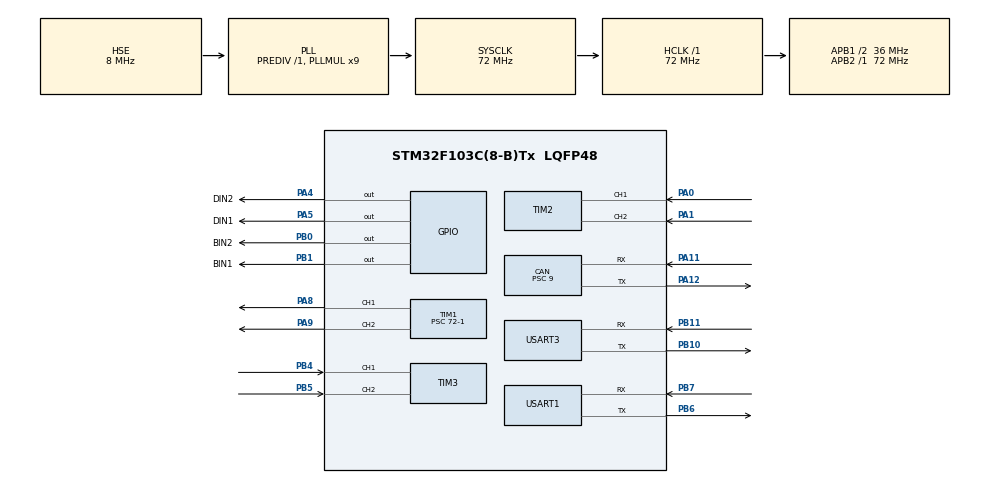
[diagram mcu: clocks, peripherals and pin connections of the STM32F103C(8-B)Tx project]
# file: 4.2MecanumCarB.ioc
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CAN.BS1=CAN_BS1_5TQ
CAN.BS2=CAN_BS2_2TQ
CAN.CalculateBaudRate=500000
CAN.CalculateTimeBit=2000
CAN.CalculateTimeQuantum=250.0
CAN.Prescaler=9
Mcu.Family=STM32F1
Mcu.Name=STM32F103C(8-B)Tx
Mcu.Package=LQFP48
NVIC.PriorityGroup=NVIC_PRIORITYGROUP_4
NVIC.TIM4_IRQn=true\:0\:0\:false\:false\:true\:true\:true\:true
NVIC.USART3_IRQn=true\:0\:0\:false\:false\:true\:true\:true\:true
NVIC.USB_HP_CAN1_TX_IRQn=true\:0\:0\:false\:false\:true\:true\:true\:true
NVIC.USB_LP_CAN1_RX0_IRQn=true\:0\:0\:false\:false\:true\:true\:true\:true
PA0-WKUP.GPIO_PuPd=GPIO_PULLUP
PA0-WKUP.Signal=S_TIM2_CH1_ETR
PA1.GPIO_PuPd=GPIO_PULLUP
PA1.Signal=S_TIM2_CH2
PA11.Mode=CAN_Activate
PA11.Signal=CAN_RX
PA12.Mode=CAN_Activate
PA12.Signal=CAN_TX
PA13.Mode=Serial_Wire
PA13.Signal=SYS_JTMS-SWDIO
PA14.Mode=Serial_Wire
PA14.Signal=SYS_JTCK-SWCLK
PA4.GPIO_Label=DIN2
PA4.GPIO_PuPd=GPIO_PULLUP
PA4.GPIO_Speed=GPIO_SPEED_FREQ_HIGH
PA4.PinState=GPIO_PIN_SET
PA4.Signal=GPIO_Output
PA5.GPIO_Label=DIN1
PA5.GPIO_PuPd=GPIO_PULLUP
PA5.GPIO_Speed=GPIO_SPEED_FREQ_HIGH
PA5.PinState=GPIO_PIN_SET
PA5.Signal=GPIO_Output
PA8.GPIO_Speed=GPIO_SPEED_FREQ_HIGH
PA8.Signal=S_TIM1_CH1
PA9.GPIO_Speed=GPIO_SPEED_FREQ_HIGH
PA9.Signal=S_TIM1_CH2
PB0.GPIO_Label=BIN2
PB0.GPIO_PuPd=GPIO_PULLUP
PB0.GPIO_Speed=GPIO_SPEED_FREQ_HIGH
PB0.PinState=GPIO_PIN_SET
PB0.Signal=GPIO_Output
PB1.GPIO_Label=BIN1
PB1.GPIO_PuPd=GPIO_PULLUP
PB1.GPIO_Speed=GPIO_SPEED_FREQ_HIGH
PB1.PinState=GPIO_PIN_SET
PB1.Signal=GPIO_Output
PB10.Mode=Asynchronous
PB10.Signal=USART3_TX
PB11.Mode=Asynchronous
PB11.Signal=USART3_RX
PB4.GPIO_PuPd=GPIO_PULLUP
PB4.Signal=S_TIM3_CH1
PB5.GPIO_PuPd=GPIO_PULLUP
PB5.Signal=S_TIM3_CH2
PB6.Mode=Asynchronous
PB6.Signal=USART1_TX
PB7.Mode=Asynchronous
PB7.Signal=USART1_RX
PD0-OSC_IN.Mode=HSE-External-Oscillator
PD0-OSC_IN.Signal=RCC_OSC_IN
PD1-OSC_OUT.Mode=HSE-External-Oscillator
PD1-OSC_OUT.Signal=RCC_OSC_OUT
ProjectManager.HeapSize=0x200
ProjectManager.StackSize=0x400
ProjectManager.TargetToolchain=MDK-ARM V5.32
RCC.AHBFreq_Value=72000000
RCC.APB1CLKDivider=RCC_HCLK_DIV2
RCC.APB1Freq_Value=36000000
RCC.APB1TimFreq_Value=72000000
RCC.APB2Freq_Value=72000000
RCC.APB2TimFreq_Value=72000000
RCC.HCLKFreq_Value=72000000
RCC.PLLMUL=RCC_PLL_MUL9
RCC.PLLSourceVirtual=RCC_PLLSOURCE_HSE
RCC.SYSCLKFreq_VALUE=72000000
RCC.SYSCLKSource=RCC_SYSCLKSOURCE_PLLCLK
RCC.USBFreq_Value=72000000
SH.S_TIM1_CH1.0=TIM1_CH1,PWM Generation1 CH1
SH.S_TIM1_CH2.0=TIM1_CH2,PWM Generation2 CH2
SH.S_TIM2_CH1_ETR.0=TIM2_CH1,Encoder_Interface
SH.S_TIM2_CH2.0=TIM2_CH2,Encoder_Interface
SH.S_TIM3_CH1.0=TIM3_CH1,Encoder_Interface
SH.S_TIM3_CH2.0=TIM3_CH2,Encoder_Interface
TIM1.Channel-PWM\ Generation1\ CH1=TIM_CHANNEL_1
TIM1.Channel-PWM\ Generation2\ CH2=TIM_CHANNEL_2
TIM1.Period=100-1
TIM1.Prescaler=72-1
TIM2.EncoderMode=TIM_ENCODERMODE_TI12
TIM3.EncoderMode=TIM_ENCODERMODE_TI12
TIM4.Period=100-1
TIM4.Prescaler=7200-1
USART1.VirtualMode=VM_ASYNC
USART3.VirtualMode=VM_ASYNC
VP_TIM1_VS_ClockSourceINT.Mode=Internal
VP_TIM4_VS_ClockSourceINT.Mode=Internal
board=custom

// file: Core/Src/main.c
/* USER CODE BEGIN Header */
/**
  ******************************************************************************
  * @file           : main.c
  * @brief          : Main program body
  ******************************************************************************
  * @attention
  *
  * Copyright (c) 2025 STMicroelectronics.
  * All rights reserved.
  *
  * This software is licensed under terms that can be found in the LICENSE file
  * in the root directory of this software component.
  * If no LICENSE file comes with this software, it is provided AS-IS.
  *
  ******************************************************************************
  */
/* USER CODE END Header */
#include "main.h"
#include "can.h"
#include "tim.h"
#include "usart.h"
#include "gpio.h"

/* USER CODE BEGIN Includes */
#include "pid.h"
#include "stdio.h"
#include "stdlib.h"
#include "string.h"
/* USER CODE END Includes */

/* USER CODE BEGIN PV */
float temp2=0,temp4=0;
int delta2=0,delta4=0,cnt2=0,cnt4=0;
int speed2=0,angle2=0,target_angle2=0,real_target_speed2=0,target_speed2=0,pwm_out2=0,sum_angle2=0;
int speed4=0,angle4=0,target_angle4=0,real_target_speed4=0,target_speed4=0,pwm_out4=0,sum_angle4=0;
int PID_mode=0;
const fp32 PID_speed2[3]={0.12,0.01,0};
const fp32 PID_position2[3]={4.0,0.0026,0};
const fp32 PID_speed4[3]={0.12,0.01,0};
const fp32 PID_position4[3]={4.0,0.0028,0};
pid_type_def Position2,Speed2;
pid_type_def Position4,Speed4;
volatile uint8_t rx_flag3 = 0;
volatile uint8_t rx_data3;
static CAN_RxHeaderTypeDef RxHeader;
uint8_t RxData[1];
/* USER CODE END PV */

void SystemClock_Config(void);

/* USER CODE BEGIN 0 */
void HAL_TIM_PeriodElapsedCallback(TIM_HandleTypeDef *htim)
{

	if(htim->Instance == TIM4)
	{
		cnt2 = __HAL_TIM_GET_COUNTER(&htim2);
		cnt4 = __HAL_TIM_GET_COUNTER(&htim3);

		if(cnt2>=30000)	{cnt2=cnt2-65535;}
		temp2 = ( cnt2 * 360 * 100 ) / (4 * 13 * 34 ) ;
		speed2 = (int)temp2;
		sum_angle2 = sum_angle2 + (int)temp2*0.01;

		if(cnt4>=30000)	{cnt4=cnt4-65535;}
		temp4 = ( cnt4 * 360 * 100 ) / (4 * 13 * 34 ) ;
		speed4 = (int)temp4;
		sum_angle4 = sum_angle4 + (int)temp4*0.01;

		if(delta2<=30 && delta2>=-30 && PID_mode==1)
		{
			__HAL_TIM_SetCompare(&htim1,TIM_CHANNEL_1,0);
		}else
		{
			target_speed2=PID_calc(&Position2,0,delta2);
			if(PID_mode==0)	{target_speed2=real_target_speed2;}
			pwm_out2=PID_calc(&Speed2,speed2,target_speed2);
			if(pwm_out2>0)
			{
				HAL_GPIO_WritePin(GPIOB, BIN1_Pin, GPIO_PIN_SET);
				HAL_GPIO_WritePin(GPIOB, BIN2_Pin, GPIO_PIN_RESET);
			}else
			{
				HAL_GPIO_WritePin(GPIOB, BIN1_Pin, GPIO_PIN_RESET);
				HAL_GPIO_WritePin(GPIOB, BIN2_Pin, GPIO_PIN_SET);
				pwm_out2=(-1)*pwm_out2;
			}
			__HAL_TIM_SetCompare(&htim1,TIM_CHANNEL_1,pwm_out2);
		}

		if(delta4<=30 && delta4>=-30 && PID_mode==1)
		{
			__HAL_TIM_SetCompare(&htim1,TIM_CHANNEL_2,0);
		}else
		{
			target_speed4=PID_calc(&Position4,0,delta4);
			if(PID_mode==0)	{target_speed4=real_target_speed4;}
			pwm_out4=PID_calc(&Speed4,speed4,target_speed4);
			if(pwm_out4>0)
			{
				HAL_GPIO_WritePin(GPIOA, DIN1_Pin, GPIO_PIN_SET);
				HAL_GPIO_WritePin(GPIOA, DIN2_Pin, GPIO_PIN_RESET);
			}else
			{
				HAL_GPIO_WritePin(GPIOA, DIN1_Pin, GPIO_PIN_RESET);
				HAL_GPIO_WritePin(GPIOA, DIN2_Pin, GPIO_PIN_SET);
				pwm_out4=(-1)*pwm_out4;
			}
			__HAL_TIM_SetCompare(&htim1,TIM_CHANNEL_2,pwm_out4);
		}

		__HAL_TIM_SetCounter(&htim2,0);
		__HAL_TIM_SetCounter(&htim3,0);
	}

//	if(speed2!=0)
//	{
//		char buffer[64];
//		sprintf(buffer, "%d,%d,%d\n",target_speed2,speed2,-pwm_out2);
//		HAL_UART_Transmit(&huart1, (uint8_t*)buffer, strlen(buffer), HAL_MAX_DELAY);
//	}串口调试
}

void HAL_UART_RxCpltCallback(UART_HandleTypeDef *huart)
{
	if (huart->Instance == USART3)
	{
		rx_flag3=1;
		HAL_UART_Receive_IT(&huart3, (uint8_t *)&rx_data3, 1);
	}
}

void HAL_CAN_RxFifo0MsgPendingCallback(CAN_HandleTypeDef *hcan)
{
  if(HAL_CAN_GetRxMessage(hcan, CAN_RX_FIFO0, &RxHeader, RxData) == HAL_OK)
	{
		if (RxHeader.StdId == 0x123 && RxData[0] == 0x00)
		{
			PID_mode=1;
			target_angle2=0;target_angle4=0;
			target_speed2=0;target_speed4=0;
			sum_angle2=0;sum_angle4=0;
			delta2=0;delta4=0;
		}
	}
}
/* USER CODE END 0 */

int main(void)
{

  /* MCU Configuration--------------------------------------------------------*/

  /* Reset of all peripherals, Initializes the Flash interface and the Systick. */
  HAL_Init();

  /* Configure the system clock */
  SystemClock_Config();

  /* Initialize all configured peripherals */
  MX_GPIO_Init();
  MX_TIM1_Init();
  MX_TIM2_Init();
  MX_TIM3_Init();
  MX_TIM4_Init();
  MX_USART3_UART_Init();
  MX_USART1_UART_Init();
  MX_CAN_Init();
  /* USER CODE BEGIN 2 */
	HAL_TIM_PWM_Start(&htim1, TIM_CHANNEL_1);
  HAL_TIM_PWM_Start(&htim1, TIM_CHANNEL_2);
	HAL_TIM_Encoder_Start(&htim2, TIM_CHANNEL_ALL);
  HAL_TIM_Encoder_Start(&htim3, TIM_CHANNEL_ALL);
  HAL_TIM_Base_Start_IT(&htim4);
	__HAL_TIM_SetCounter(&htim2,0);
	__HAL_TIM_SetCounter(&htim3,0);
	PID_init(&Position2,PID_POSITION,PID_position2,500.0f,1000.0f);
  PID_init(&Speed2,PID_POSITION,PID_speed2,30.0f,1000.0f);
	PID_init(&Position4,PID_POSITION,PID_position4,500.0f,1000.0f);
  PID_init(&Speed4,PID_POSITION,PID_speed4,30.0f,1000.0f);
	HAL_UART_Receive_IT(&huart3, (uint8_t *)&rx_data3, 1);

	CAN_FilterTypeDef filter;
  filter.FilterIdHigh = 0x123 << 5;  // 标准ID左移5位对齐
  filter.FilterIdLow = 0;
  filter.FilterMaskIdHigh = 0x7FF << 5;  // 掩码精确匹配
  filter.FilterMaskIdLow = 0;
  filter.FilterFIFOAssignment = CAN_FILTER_FIFO0;
  filter.FilterBank = 0;
  filter.FilterMode = CAN_FILTERMODE_IDMASK;
  filter.FilterScale = CAN_FILTERSCALE_32BIT;
  filter.FilterActivation = ENABLE;
  HAL_CAN_ConfigFilter(&hcan, &filter);
	HAL_CAN_Start(&hcan);
  HAL_CAN_ActivateNotification(&hcan, CAN_IT_RX_FIFO0_MSG_PENDING);
  /* USER CODE END 2 */

  /* Infinite loop */
  while (1)
  {

    /* USER CODE BEGIN 3 */
		if(rx_flag3)
		{
			rx_flag3=0;

			if(rx_data3 == 0x00)	{PID_mode=0;target_angle2=0;target_angle4=0;real_target_speed2=0;real_target_speed4=0;sum_angle2=0;sum_angle4=0;}//停止

			else if(rx_data3 == 0x01)	{PID_mode=0;real_target_speed2=500;real_target_speed4=-500;target_angle2=0;target_angle4=0;sum_angle2=0;sum_angle4=0;}//定速前进
			else if(rx_data3 == 0xF1)	{PID_mode=1;target_angle2=1440;target_angle4=-1440;sum_angle2=0;sum_angle4=0;}//定位移前进

			else if(rx_data3 == 0x02)	{PID_mode=0;real_target_speed2=-500;real_target_speed4=500;target_angle2=0;target_angle4=0;sum_angle2=0;sum_angle4=0;}//定速后退
			else if(rx_data3 == 0xF2)	{PID_mode=1;target_angle2=-1440;target_angle4=1440;sum_angle2=0;sum_angle4=0;}//定位移后退

			else if(rx_data3 == 0x03)	{PID_mode=0;real_target_speed2=-500;real_target_speed4=500;target_angle2=0;target_angle4=0;sum_angle2=0;sum_angle4=0;}//定速左移
			else if(rx_data3 == 0xF3)	{PID_mode=1;target_angle2=-1440;target_angle4=1440;sum_angle2=0;sum_angle4=0;}//定位移左移

			else if(rx_data3 == 0x04)	{PID_mode=0;real_target_speed2=500;real_target_speed4=-500;target_angle2=0;target_angle4=0;sum_angle2=0;sum_angle4=0;}//定速右移
			else if(rx_data3 == 0xF4)	{PID_mode=1;target_angle2=1440;target_angle4=-1440;sum_angle2=0;sum_angle4=0;}//定位移右移

			else if(rx_data3 == 0x05)	{PID_mode=0;real_target_speed2=-500;real_target_speed4=-500;target_angle2=0;target_angle4=0;sum_angle2=0;sum_angle4=0;}//定速左转弯
			else if(rx_data3 == 0xF5)	{PID_mode=1;target_angle2=-720;target_angle4=-720;sum_angle2=0;sum_angle4=0;}//定位移左转弯

			else if(rx_data3 == 0x06)	{PID_mode=0;real_target_speed2=500;real_target_speed4=500;target_angle2=0;target_angle4=0;sum_angle2=0;sum_angle4=0;}//定速右转弯
			else if(rx_data3 == 0xF6)	{PID_mode=1;target_angle2=720;target_angle4=720;sum_angle2=0;sum_angle4=0;}//定位移右转弯

			else if(rx_data3 == 0x07)	{PID_mode=0;target_angle2=0;target_angle4=0;real_target_speed2=0;real_target_speed4=0;sum_angle2=0;sum_angle4=0;}//定速左前
			else if(rx_data3 == 0xF7)	{PID_mode=0;target_angle2=0;target_angle4=0;real_target_speed2=0;real_target_speed4=0;sum_angle2=0;sum_angle4=0;}//定位移左前

			else if(rx_data3 == 0x08)	{PID_mode=0;real_target_speed2=-500;real_target_speed4=500;target_angle2=0;target_angle4=0;sum_angle2=0;sum_angle4=0;}//定速左后
			else if(rx_data3 == 0xF8)	{PID_mode=1;target_angle2=-1440;target_angle4=1440;sum_angle2=0;sum_angle4=0;}//定位移左后

			else if(rx_data3 == 0x09)	{PID_mode=0;real_target_speed2=500;real_target_speed4=-500;target_angle2=0;target_angle4=0;sum_angle2=0;sum_angle4=0;}//定速右前
			else if(rx_data3 == 0xF9)	{PID_mode=1;target_angle2=1440;target_angle4=-1440;sum_angle2=0;sum_angle4=0;}//定位移右前

			else if(rx_data3 == 0x0A)	{PID_mode=0;target_angle2=0;target_angle4=0;real_target_speed2=0;real_target_speed4=0;sum_angle2=0;sum_angle4=0;}//定速右后
			else if(rx_data3 == 0xFA)	{PID_mode=0;target_angle2=0;target_angle4=0;real_target_speed2=0;real_target_speed4=0;sum_angle2=0;sum_angle4=0;}//定位移右后

		}

		if(PID_mode)
		{
			delta2=target_angle2-sum_angle2;
			delta4=target_angle4-sum_angle4;
		}
		else	{delta2=0;delta4=0;}

  }
  /* USER CODE END 3 */
}

void SystemClock_Config(void)
{
  RCC_OscInitTypeDef RCC_OscInitStruct = {0};
  RCC_ClkInitTypeDef RCC_ClkInitStruct = {0};

  /** Initializes the RCC Oscillators according to the specified parameters
  * in the RCC_OscInitTypeDef structure.
  */
  RCC_OscInitStruct.OscillatorType = RCC_OSCILLATORTYPE_HSE;
  RCC_OscInitStruct.HSEState = RCC_HSE_ON;
  RCC_OscInitStruct.HSEPredivValue = RCC_HSE_PREDIV_DIV1;
  RCC_OscInitStruct.HSIState = RCC_HSI_ON;
  RCC_OscInitStruct.PLL.PLLState = RCC_PLL_ON;
  RCC_OscInitStruct.PLL.PLLSource = RCC_PLLSOURCE_HSE;
  RCC_OscInitStruct.PLL.PLLMUL = RCC_PLL_MUL9;
  if (HAL_RCC_OscConfig(&RCC_OscInitStruct) != HAL_OK)
  {
    Error_Handler();
  }

  /** Initializes the CPU, AHB and APB buses clocks
  */
  RCC_ClkInitStruct.ClockType = RCC_CLOCKTYPE_HCLK|RCC_CLOCKTYPE_SYSCLK
                              |RCC_CLOCKTYPE_PCLK1|RCC_CLOCKTYPE_PCLK2;
  RCC_ClkInitStruct.SYSCLKSource = RCC_SYSCLKSOURCE_PLLCLK;
  RCC_ClkInitStruct.AHBCLKDivider = RCC_SYSCLK_DIV1;
  RCC_ClkInitStruct.APB1CLKDivider = RCC_HCLK_DIV2;
  RCC_ClkInitStruct.APB2CLKDivider = RCC_HCLK_DIV1;

  if (HAL_RCC_ClockConfig(&RCC_ClkInitStruct, FLASH_LATENCY_2) != HAL_OK)
  {
    Error_Handler();
  }
}

void Error_Handler(void)
{
  __disable_irq();
  while (1)
  {
  }
}
